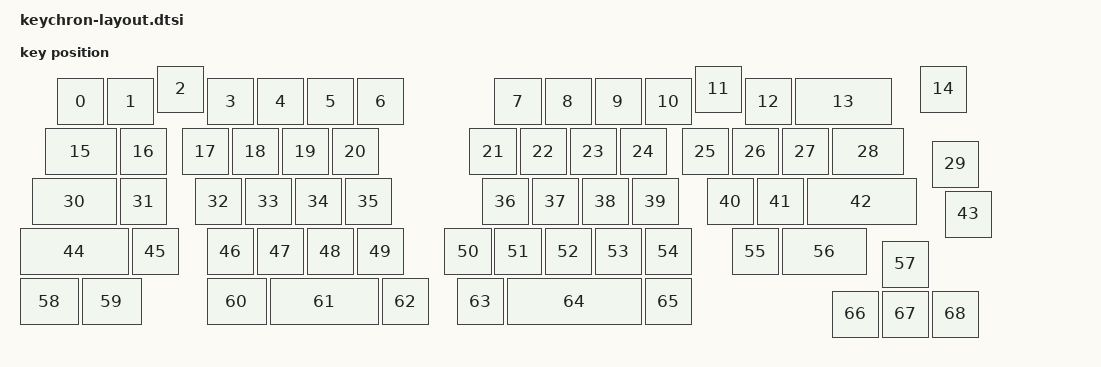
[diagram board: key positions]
#include <physical_layouts.dtsi>

/ {
    keychron_layout: keychron_layout {
        compatible = "zmk,physical-layout";
        display-name = "LAYOUT_ansi_69";

        keys  //                     w   h    x    y     rot    rx    ry
            = <&key_physical_attrs 100 100   75   25       0     0     0>
            , <&key_physical_attrs 100 100  175   25       0     0     0>
            , <&key_physical_attrs 100 100  275    0       0     0     0>
            , <&key_physical_attrs 100 100  375   25       0     0     0>
            , <&key_physical_attrs 100 100  475   25       0     0     0>
            , <&key_physical_attrs 100 100  575   25       0     0     0>
            , <&key_physical_attrs 100 100  675   25       0     0     0>
            , <&key_physical_attrs 100 100  950   25       0     0     0>
            , <&key_physical_attrs 100 100 1050   25       0     0     0>
            , <&key_physical_attrs 100 100 1150   25       0     0     0>
            , <&key_physical_attrs 100 100 1250   25       0     0     0>
            , <&key_physical_attrs 100 100 1350    0       0     0     0>
            , <&key_physical_attrs 100 100 1450   25       0     0     0>
            , <&key_physical_attrs 200 100 1550   25       0     0     0>
            , <&key_physical_attrs 100 100 1800    0       0     0     0>
            , <&key_physical_attrs 150 100   50  125       0     0     0>
            , <&key_physical_attrs 100 100  200  125       0     0     0>
            , <&key_physical_attrs 100 100  325  125       0     0     0>
            , <&key_physical_attrs 100 100  425  125       0     0     0>
            , <&key_physical_attrs 100 100  525  125       0     0     0>
            , <&key_physical_attrs 100 100  625  125       0     0     0>
            , <&key_physical_attrs 100 100  900  125       0     0     0>
            , <&key_physical_attrs 100 100 1000  125       0     0     0>
            , <&key_physical_attrs 100 100 1100  125       0     0     0>
            , <&key_physical_attrs 100 100 1200  125       0     0     0>
            , <&key_physical_attrs 100 100 1325  125       0     0     0>
            , <&key_physical_attrs 100 100 1425  125       0     0     0>
            , <&key_physical_attrs 100 100 1525  125       0     0     0>
            , <&key_physical_attrs 150 100 1625  125       0     0     0>
            , <&key_physical_attrs 100 100 1825  150       0     0     0>
            , <&key_physical_attrs 175 100   25  225       0     0     0>
            , <&key_physical_attrs 100 100  200  225       0     0     0>
            , <&key_physical_attrs 100 100  350  225       0     0     0>
            , <&key_physical_attrs 100 100  450  225       0     0     0>
            , <&key_physical_attrs 100 100  550  225       0     0     0>
            , <&key_physical_attrs 100 100  650  225       0     0     0>
            , <&key_physical_attrs 100 100  925  225       0     0     0>
            , <&key_physical_attrs 100 100 1025  225       0     0     0>
            , <&key_physical_attrs 100 100 1125  225       0     0     0>
            , <&key_physical_attrs 100 100 1225  225       0     0     0>
            , <&key_physical_attrs 100 100 1375  225       0     0     0>
            , <&key_physical_attrs 100 100 1475  225       0     0     0>
            , <&key_physical_attrs 225 100 1575  225       0     0     0>
            , <&key_physical_attrs 100 100 1850  250       0     0     0>
            , <&key_physical_attrs 225 100    0  325       0     0     0>
            , <&key_physical_attrs 100 100  225  325       0     0     0>
            , <&key_physical_attrs 100 100  375  325       0     0     0>
            , <&key_physical_attrs 100 100  475  325       0     0     0>
            , <&key_physical_attrs 100 100  575  325       0     0     0>
            , <&key_physical_attrs 100 100  675  325       0     0     0>
            , <&key_physical_attrs 100 100  850  325       0     0     0>
            , <&key_physical_attrs 100 100  950  325       0     0     0>
            , <&key_physical_attrs 100 100 1050  325       0     0     0>
            , <&key_physical_attrs 100 100 1150  325       0     0     0>
            , <&key_physical_attrs 100 100 1250  325       0     0     0>
            , <&key_physical_attrs 100 100 1425  325       0     0     0>
            , <&key_physical_attrs 175 100 1525  325       0     0     0>
            , <&key_physical_attrs 100 100 1725  350       0     0     0>
            , <&key_physical_attrs 125 100    0  425       0     0     0>
            , <&key_physical_attrs 125 100  125  425       0     0     0>
            , <&key_physical_attrs 125 100  375  425       0     0     0>
            , <&key_physical_attrs 225 100  500  425       0     0     0>
            , <&key_physical_attrs 100 100  725  425       0     0     0>
            , <&key_physical_attrs 100 100  875  425       0     0     0>
            , <&key_physical_attrs 275 100  975  425       0     0     0>
            , <&key_physical_attrs 100 100 1250  425       0     0     0>
            , <&key_physical_attrs 100 100 1625  450       0     0     0>
            , <&key_physical_attrs 100 100 1725  450       0     0     0>
            , <&key_physical_attrs 100 100 1825  450       0     0     0>
            ;
    };
};
